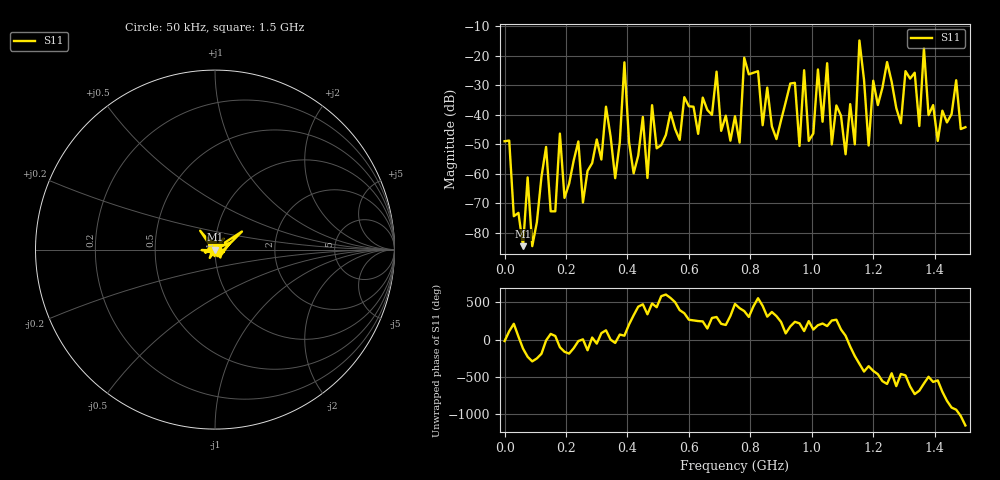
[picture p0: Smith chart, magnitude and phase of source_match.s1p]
! Created with skrf 1.8.0 (http://scikit-rf.org).
# Hz S RI R 50.0
!freq ReS11 ImS11
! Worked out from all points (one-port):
!   101 points, 50 kHz to 1.5 GHz, reference 50 ohm
!   lowest |S11| = -84.6 dB at 60.05 MHz (marker M1), VSWR 1.00, Z = 50 - j0.00502 ohm
!   |S11| at or under -10 dB: start of sweep to end of sweep
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50000  0.00333 -0.00119
6.0048e7  -3.08e-05 -5.02e-05
1.350455e8  0.00278 -0.000567
1.650445e8  0.000152 0.000172
1.80044e8  -0.00106 -0.00465
1.950435e8  -0.000374 -0.000105
3.750375e8  0.00128 0.00316
3.90037e8  0.0466 0.0613
4.20036e8  0.000855 -0.000542
4.650345e8  0.000797 -0.000274
4.80034e8  -0.00861 0.0116
5.70031e8  0.00299 0.00223
7.50025e8  -0.00476 0.0081
9.450185e8  -0.0175 -0.0298
9.60018e8  -0.00228 -0.00185
9.750175e8  -0.0237 0.0513
9.90017e8  -0.00127 -0.00335
1.020016e9  -0.0565 -0.0141
1.035016e9  -0.00609 -0.00451
1.050015e9  -0.0743 -0.00273
1.065014e9  -0.000711 -0.00304
1.125012e9  -0.000906 -0.015
1.140012e9  -0.00235 0.00208
1.155012e9  0.1502 0.1007
1.18501e9  0.00299 9.73e-05
1.20001e9  0.0179 -0.033
1.320006e9  0.000119 0.0408
1.5e9  0.0014 -0.00596
